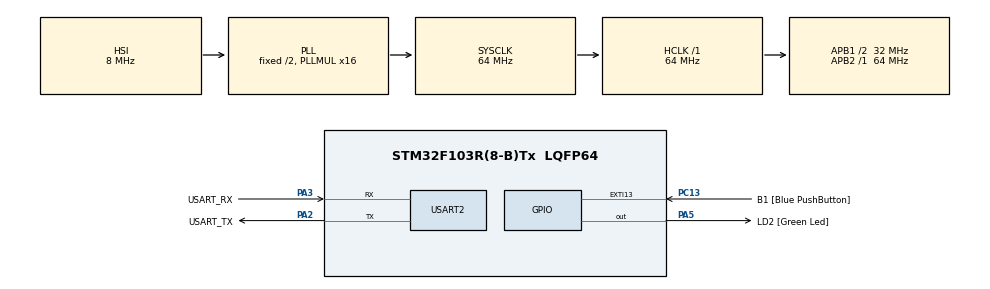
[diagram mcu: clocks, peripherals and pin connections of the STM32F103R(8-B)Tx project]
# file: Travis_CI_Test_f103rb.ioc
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Mcu.Family=STM32F1
Mcu.Name=STM32F103R(8-B)Tx
Mcu.Package=LQFP64
NVIC.EXTI15_10_IRQn=true\:0\:0\:false\:false\:true\:true\:true
NVIC.PriorityGroup=NVIC_PRIORITYGROUP_4
NVIC.USART2_IRQn=true\:0\:0\:false\:false\:true\:true\:true
PA13.GPIO_Label=TMS
PA13.Mode=Serial_Wire
PA13.Signal=SYS_JTMS-SWDIO
PA14.GPIO_Label=TCK
PA14.Mode=Serial_Wire
PA14.Signal=SYS_JTCK-SWCLK
PA2.GPIO_Label=USART_TX
PA2.GPIO_Mode=GPIO_MODE_AF_PP
PA2.GPIO_PuPd=GPIO_NOPULL
PA2.GPIO_Speed=GPIO_SPEED_FREQ_LOW
PA2.Mode=Asynchronous
PA2.Signal=USART2_TX
PA3.GPIO_Label=USART_RX
PA3.GPIO_Mode=GPIO_MODE_AF_PP
PA3.GPIO_PuPd=GPIO_NOPULL
PA3.GPIO_Speed=GPIO_SPEED_FREQ_LOW
PA3.Mode=Asynchronous
PA3.Signal=USART2_RX
PA5.GPIO_Label=LD2 [Green Led]
PA5.GPIO_ModeDefaultOutputPP=GPIO_MODE_OUTPUT_PP
PA5.GPIO_PuPd=GPIO_NOPULL
PA5.GPIO_Speed=GPIO_SPEED_FREQ_LOW
PA5.Signal=GPIO_Output
PB3.GPIO_Label=SWO
PB3.Signal=SYS_JTDO-TRACESWO
PC13-TAMPER-RTC.GPIO_Label=B1 [Blue PushButton]
PC13-TAMPER-RTC.GPIO_PuPd=GPIO_NOPULL
PC13-TAMPER-RTC.Signal=GPXTI13
PC14-OSC32_IN.Mode=LSE-External-Oscillator
PC14-OSC32_IN.Signal=RCC_OSC32_IN
PC15-OSC32_OUT.Mode=LSE-External-Oscillator
PC15-OSC32_OUT.Signal=RCC_OSC32_OUT
PD0-OSC_IN.Mode=HSE-External-Clock-Source
PD0-OSC_IN.Signal=RCC_OSC_IN
PD1-OSC_OUT.Mode=HSE-External-Clock-Source
PD1-OSC_OUT.Signal=RCC_OSC_OUT
ProjectManager.HeapSize=0x200
ProjectManager.StackSize=0x400
ProjectManager.TargetToolchain=STM32CubeIDE
RCC.AHBFreq_Value=64000000
RCC.APB1CLKDivider=RCC_HCLK_DIV2
RCC.APB1Freq_Value=32000000
RCC.APB1TimFreq_Value=64000000
RCC.APB2Freq_Value=64000000
RCC.APB2TimFreq_Value=64000000
RCC.HCLKFreq_Value=64000000
RCC.PLLMUL=RCC_PLL_MUL16
RCC.RTCClockSelection=RCC_RTCCLKSOURCE_LSE
RCC.SYSCLKFreq_VALUE=64000000
RCC.SYSCLKSource=RCC_SYSCLKSOURCE_PLLCLK
RCC.USBFreq_Value=64000000
USART2.VirtualMode=VM_ASYNC
board=NUCLEO-F103RB

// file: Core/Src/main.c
/* USER CODE BEGIN Header */
/**
  ******************************************************************************
  * @file           : main.c
  * @brief          : Main program body
  ******************************************************************************
  * @attention
  *
  * <h2><center>&copy; Copyright (c) 2021 STMicroelectronics.
  * All rights reserved.</center></h2>
  *
  * This software component is licensed by ST under BSD 3-Clause license,
  * the "License"; You may not use this file except in compliance with the
  * License. You may obtain a copy of the License at:
  *                        opensource.org/licenses/BSD-3-Clause
  *
  ******************************************************************************
  */
/* USER CODE END Header */
#include "main.h"

/* USER CODE BEGIN Includes */
#include <stdio.h>
#include "scpi/scpi.h"          // SCPI Library
#include "scpi-def.h"           // SCPI User Code
/* USER CODE END Includes */

UART_HandleTypeDef huart2;

/* USER CODE BEGIN PV */
extern   scpi_t scpi_context;
/* USER CODE END PV */

void SystemClock_Config(void);
static void MX_GPIO_Init(void);
static void MX_USART2_UART_Init(void);
/* USER CODE BEGIN PFP */
/**
 *  @see https://github.com/STMicroelectronics/STM32CubeF4/blob/master/Projects/STM32F401RE-Nucleo/Examples/UART/UART_Printf/Src/main.c
 */
#ifdef __GNUC__
/* With GCC, small printf (option LD Linker->Libraries->Small printf
 set to 'Yes') calls __io_putchar() */
#define PUTCHAR_PROTOTYPE int __io_putchar(int ch)
#else
#define PUTCHAR_PROTOTYPE int fputc(int ch, FILE *f)
#endif /* __GNUC__ */

/* USER CODE END PFP */

/* USER CODE BEGIN 0 */
size_t SCPI_Write(scpi_t * context, const char * data, size_t len){
	(void) context;
	return fwrite(data, 1, len, stdout);
}

int SCPI_Error(scpi_t * context, int_fast16_t err){
	return 0;
}

scpi_result_t SCPI_Control(scpi_t * context, scpi_ctrl_name_t ctrl, scpi_reg_val_t val){
	(void) context;
	return SCPI_RES_OK;
}

scpi_result_t SCPI_Reset(scpi_t * context){
	// reset ADCs etc.
	return SCPI_RES_OK;
}

scpi_result_t SCPI_Flush(scpi_t * context){
	(void) context;
	return SCPI_RES_OK;
}
/* USER CODE END 0 */

int main(void)
{

  /* MCU Configuration--------------------------------------------------------*/

  /* Reset of all peripherals, Initializes the Flash interface and the Systick. */
  HAL_Init();

  /* Configure the system clock */
  SystemClock_Config();

  /* Initialize all configured peripherals */
  MX_GPIO_Init();
  MX_USART2_UART_Init();
  /* USER CODE BEGIN 2 */
  printf("booting...");
  SCPI_Init(&scpi_context,
   	scpi_commands,
   	&scpi_interface,
   	scpi_units_def,
   	SCPI_IDN1, SCPI_IDN2, SCPI_IDN3, SCPI_IDN4,
   	(char*)&scpi_input_buffer, SCPI_INPUT_BUFFER_LENGTH,
   	scpi_error_queue_data, SCPI_ERROR_QUEUE_SIZE);

  __HAL_UART_ENABLE_IT(&huart2, UART_IT_RXNE);  // must be enabled again
  printf("Done!\n");

  /* USER CODE END 2 */

  /* Infinite loop */
  while (1)
  {

    /* USER CODE BEGIN 3 */
	// printf("foo\n");
	HAL_Delay(500);
	HAL_GPIO_TogglePin(LD2_GPIO_Port, LD2_Pin);

  }
  /* USER CODE END 3 */
}

void SystemClock_Config(void)
{
  RCC_OscInitTypeDef RCC_OscInitStruct = {0};
  RCC_ClkInitTypeDef RCC_ClkInitStruct = {0};

  /** Initializes the RCC Oscillators according to the specified parameters
  * in the RCC_OscInitTypeDef structure.
  */
  RCC_OscInitStruct.OscillatorType = RCC_OSCILLATORTYPE_HSI;
  RCC_OscInitStruct.HSIState = RCC_HSI_ON;
  RCC_OscInitStruct.HSICalibrationValue = RCC_HSICALIBRATION_DEFAULT;
  RCC_OscInitStruct.PLL.PLLState = RCC_PLL_ON;
  RCC_OscInitStruct.PLL.PLLSource = RCC_PLLSOURCE_HSI_DIV2;
  RCC_OscInitStruct.PLL.PLLMUL = RCC_PLL_MUL16;
  if (HAL_RCC_OscConfig(&RCC_OscInitStruct) != HAL_OK)
  {
    Error_Handler();
  }
  /** Initializes the CPU, AHB and APB buses clocks
  */
  RCC_ClkInitStruct.ClockType = RCC_CLOCKTYPE_HCLK|RCC_CLOCKTYPE_SYSCLK
                              |RCC_CLOCKTYPE_PCLK1|RCC_CLOCKTYPE_PCLK2;
  RCC_ClkInitStruct.SYSCLKSource = RCC_SYSCLKSOURCE_PLLCLK;
  RCC_ClkInitStruct.AHBCLKDivider = RCC_SYSCLK_DIV1;
  RCC_ClkInitStruct.APB1CLKDivider = RCC_HCLK_DIV2;
  RCC_ClkInitStruct.APB2CLKDivider = RCC_HCLK_DIV1;

  if (HAL_RCC_ClockConfig(&RCC_ClkInitStruct, FLASH_LATENCY_2) != HAL_OK)
  {
    Error_Handler();
  }
}

static void MX_USART2_UART_Init(void)
{

  huart2.Instance = USART2;
  huart2.Init.BaudRate = 115200;
  huart2.Init.WordLength = UART_WORDLENGTH_8B;
  huart2.Init.StopBits = UART_STOPBITS_1;
  huart2.Init.Parity = UART_PARITY_NONE;
  huart2.Init.Mode = UART_MODE_TX_RX;
  huart2.Init.HwFlowCtl = UART_HWCONTROL_NONE;
  huart2.Init.OverSampling = UART_OVERSAMPLING_16;
  if (HAL_UART_Init(&huart2) != HAL_OK)
  {
    Error_Handler();
  }

}

static void MX_GPIO_Init(void)
{
  GPIO_InitTypeDef GPIO_InitStruct = {0};

  /* GPIO Ports Clock Enable */
  __HAL_RCC_GPIOC_CLK_ENABLE();
  __HAL_RCC_GPIOD_CLK_ENABLE();
  __HAL_RCC_GPIOA_CLK_ENABLE();
  __HAL_RCC_GPIOB_CLK_ENABLE();

  /*Configure GPIO pin Output Level */
  HAL_GPIO_WritePin(LD2_GPIO_Port, LD2_Pin, GPIO_PIN_RESET);

  /*Configure GPIO pin : B1_Pin */
  GPIO_InitStruct.Pin = B1_Pin;
  GPIO_InitStruct.Mode = GPIO_MODE_IT_RISING;
  GPIO_InitStruct.Pull = GPIO_NOPULL;
  HAL_GPIO_Init(B1_GPIO_Port, &GPIO_InitStruct);

  /*Configure GPIO pin : LD2_Pin */
  GPIO_InitStruct.Pin = LD2_Pin;
  GPIO_InitStruct.Mode = GPIO_MODE_OUTPUT_PP;
  GPIO_InitStruct.Pull = GPIO_NOPULL;
  GPIO_InitStruct.Speed = GPIO_SPEED_FREQ_LOW;
  HAL_GPIO_Init(LD2_GPIO_Port, &GPIO_InitStruct);

  /* EXTI interrupt init*/
  HAL_NVIC_SetPriority(EXTI15_10_IRQn, 0, 0);
  HAL_NVIC_EnableIRQ(EXTI15_10_IRQn);

}

/* USER CODE BEGIN 4 */
/**
 * @brief  Retargets the C library printf function to the USART.
 * @param  None
 * @retval None
 * @see    https://github.com/STMicroelectronics/STM32CubeF4/blob/master/Projects/STM32F401RE-Nucleo/Examples/UART/UART_Printf/Src/main.c
 */
PUTCHAR_PROTOTYPE {
	/* Place your implementation of fputc here */
	/* e.g. write a character to the EVAL_COM1 and Loop until the end of transmission */
	HAL_UART_Transmit(&huart2, (uint8_t *) &ch, 1, 1);

	return ch;
}
/* USER CODE END 4 */

void Error_Handler(void)
{
  __disable_irq();
  while (1)
  {
  }
}

/************************ (C) COPYRIGHT STMicroelectronics *****END OF FILE****/
